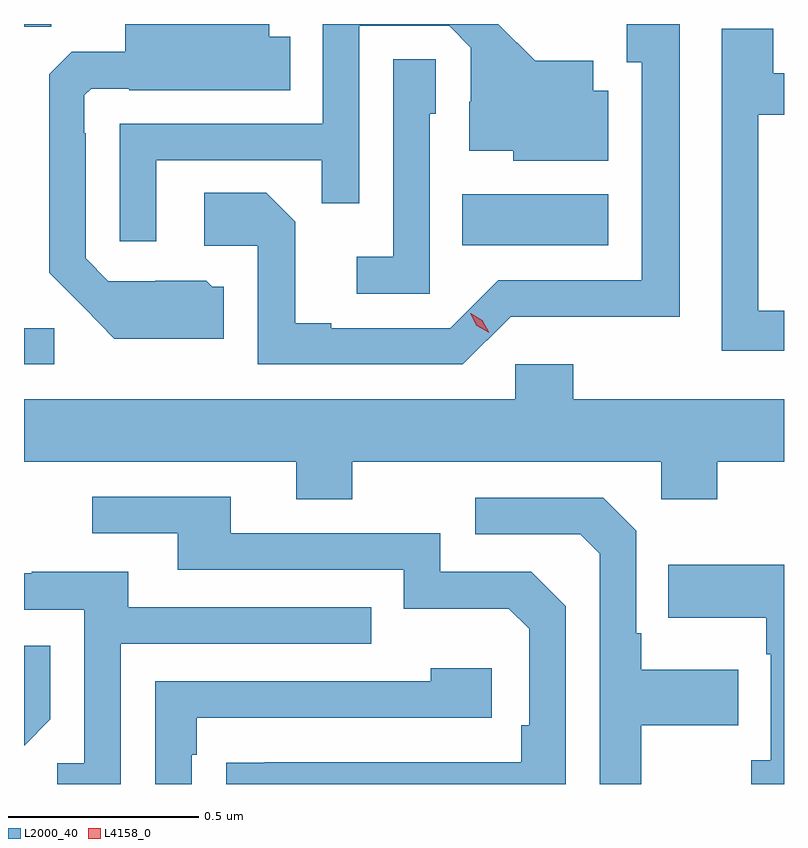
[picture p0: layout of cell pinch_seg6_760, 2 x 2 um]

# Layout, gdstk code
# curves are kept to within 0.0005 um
import gdstk
lib = gdstk.Library(unit=1e-6, precision=1e-09)
def R(c, l, rs):  # rectangles x0, y0, x1, y1
    for r in rs: c.add(gdstk.rectangle(r[:2], r[2:], *l))
def P(c, l, *ps):  # polygons
    for p in ps: c.add(gdstk.Polygon(p, *l))
L2000_40 = (2000, 40)
L4158_0 = (4158, 0)

pinch_seg6_760 = lib.new_cell('pinch_seg6_760')
R(pinch_seg6_760, L2000_40, [(617.733,936.936,617.812,937.032), (618.886,937.25,619.27,937.384), (617.733,937.825,617.805,937.832)])
P(pinch_seg6_760, L2000_40, [(618.259,937.14),(618.228,937.14),(618.212,937.156),(618.078,937.156),(618.078,937.155),(617.955,937.155),(617.895,937.215),(617.895,937.544),(617.892,937.544),(617.892,937.644),(617.91,937.662),(618.01,937.662),(618.01,937.658),(618.434,937.658),(618.434,937.798),(618.379,937.798),(618.379,937.832),(617.999,937.832),(617.999,937.759),(617.858,937.759),(617.799,937.7),(617.799,937.178),(617.971,937.004),(618.259,937.004)],
  [(619.014,937.062),(619.236,937.062),(619.236,937.061),(619.459,937.061),(619.459,937.832),(619.319,937.832),(619.319,937.731),(619.358,937.731),(619.358,937.158),(618.981,937.158),(618.855,937.032),(618.541,937.032),(618.541,937.045),(618.447,937.045),(618.447,937.312),(618.371,937.388),(618.207,937.388),(618.207,937.248),(618.348,937.248),(618.348,936.936),(618.888,936.936)],
  [(618.081,937.473),(618.517,937.473),(618.517,937.36),(618.615,937.36),(618.615,937.827),(618.852,937.827),(618.909,937.77),(618.909,937.628),(618.905,937.628),(618.905,937.499),(619.02,937.499),(619.02,937.472),(619.27,937.472),(619.27,937.657),(619.231,937.657),(619.231,937.735),(619.079,937.735),(618.981,937.832),(618.519,937.832),(618.519,937.569),(617.985,937.569),(617.985,937.26),(618.081,937.26)],
  [(619.733,937.077),(619.665,937.077),(619.665,937.593),(619.733,937.593),(619.733,937.702),(619.705,937.702),(619.705,937.819),(619.569,937.819),(619.569,936.972),(619.733,936.972)],
  [(618.801,937.596),(618.816,937.596),(618.816,937.739),(618.705,937.739),(618.705,937.219),(618.609,937.219),(618.609,937.122),(618.801,937.122)],
  [(618.597,936.68),(619.41,936.68),(619.41,936.581),(619.557,936.581),(619.557,936.68),(619.733,936.68),(619.733,936.844),(619.178,936.844),(619.178,936.937),(619.026,936.937),(619.026,936.844),(617.733,936.844),(617.733,936.68),(618.449,936.68),(618.449,936.581),(618.597,936.581)],
  [(619.158,936.3),(619.068,936.39),(618.828,936.39),(618.828,936.492),(618.277,936.492),(618.277,936.588),(617.913,936.588),(617.913,936.492),(618.137,936.492),(618.137,936.396),(618.732,936.396),(618.732,936.293),(619.009,936.293),(619.062,936.24),(619.062,935.986),(619.042,935.986),(619.042,935.889),(618.367,935.889),(618.367,935.888),(618.265,935.888),(618.265,935.832),(619.158,935.832)],
  [(619.357,935.986),(619.613,935.986),(619.613,936.133),(619.357,936.133),(619.357,936.229),(619.344,936.229),(619.344,936.498),(619.257,936.585),(618.921,936.585),(618.921,936.489),(619.197,936.489),(619.248,936.438),(619.248,935.832),(619.357,935.832)],
  [(619.733,936.409),(619.429,936.409),(619.429,936.269),(619.686,936.269),(619.686,936.173),(619.698,936.173),(619.698,935.894),(619.647,935.894),(619.647,935.832),(619.733,935.832)],
  [(617.988,936.201),(618.647,936.201),(618.647,936.297),(618.007,936.297),(618.007,936.391),(617.753,936.391),(617.753,936.387),(617.733,936.387),(617.733,936.291),(617.892,936.291),(617.892,935.886),(617.82,935.886),(617.82,935.832),(617.988,935.832)],
  [(617.802,936.002),(617.802,936.196),(617.733,936.196),(617.733,935.933)],
  [(618.174,935.909),(618.187,935.909),(618.187,936.006),(618.964,936.006),(618.964,936.136),(618.803,936.136),(618.803,936.102),(618.078,936.102),(618.078,935.832),(618.174,935.832)])
P(pinch_seg6_760, L4158_0, [(618.957,937.019),(618.925,937.038),(618.907,937.071),(618.907,937.071),(618.908,937.071),(618.939,937.052),(618.957,937.02),(618.957,937.019)])

lib.write_gds('pinch_seg6_760.gds')
